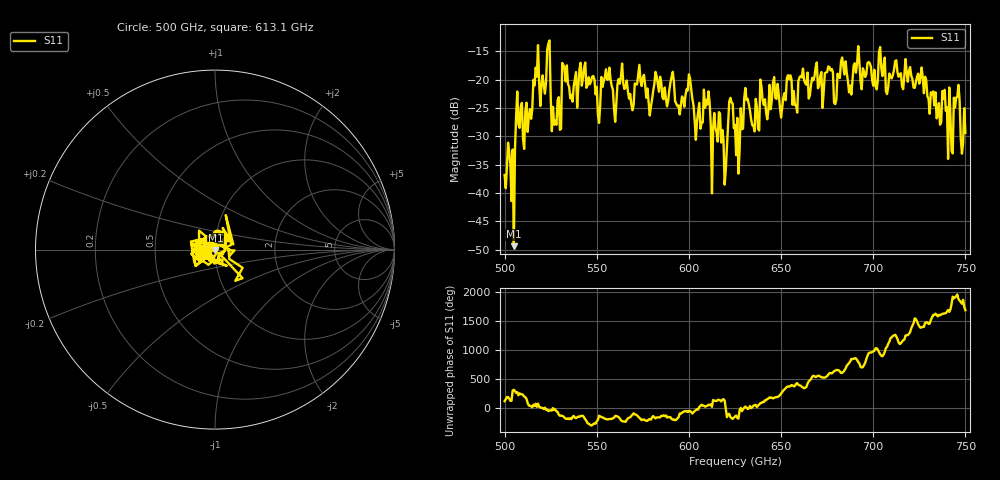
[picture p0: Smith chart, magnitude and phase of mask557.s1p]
!Created with skrf (http://scikit-rf.org).
# GHz S MA R 50.0
!freq magS11 angS11
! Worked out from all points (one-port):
!   401 points, 500 GHz to 750 GHz, reference 50 ohm
!   lowest |S11| = -49.4 dB at 505 GHz (marker M1), VSWR 1.01, Z = 50.2 - j0.264 ohm
!   |S11| at or under -10 dB: start of sweep to end of sweep
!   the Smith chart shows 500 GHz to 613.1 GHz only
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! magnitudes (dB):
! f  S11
! 500 GHz  -36.8
! 505 GHz  -49.4
! 507.5 GHz  -27.9
! 513.8 GHz  -25.2
! 516.9 GHz  -17.9
! 523.8 GHz  -13.7
! 526.9 GHz  -28.0
! 531.2 GHz  -17.1
! 542.5 GHz  -19.7
! 550.6 GHz  -26.1
! 555.6 GHz  -20.0
! 559.4 GHz  -25.2
! 562.5 GHz  -20.7
! 593.8 GHz  -24.7
! 609.4 GHz  -23.6
! 619.4 GHz  -38.5
! 622.5 GHz  -23.2
! 625 GHz  -28.0
! 656.2 GHz  -24.4
! 680 GHz  -23.5
! 683.8 GHz  -17.5
! 687.5 GHz  -21.0
! 691.2 GHz  -17.1
! 718.8 GHz  -20.4
! 738.8 GHz  -21.8
! 741.9 GHz  -26.2
! 745.6 GHz  -23.1
! 750 GHz  -29.4
